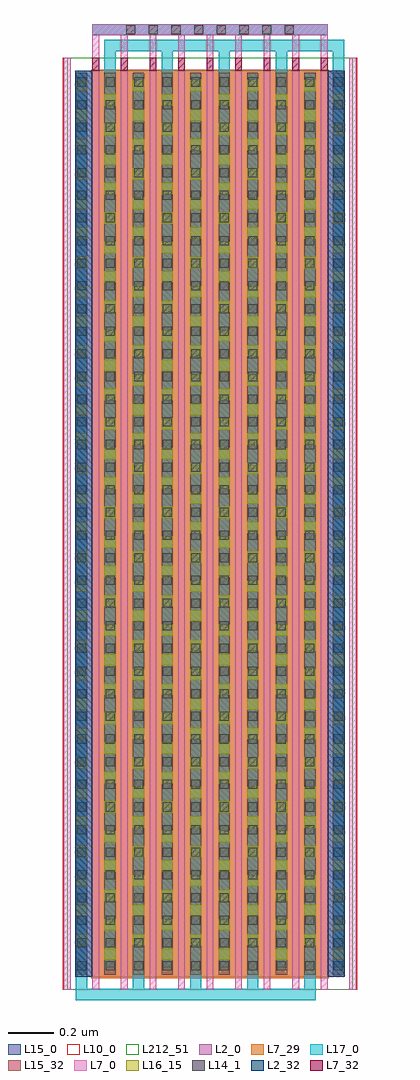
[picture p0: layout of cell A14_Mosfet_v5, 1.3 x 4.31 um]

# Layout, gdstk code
import gdstk
lib = gdstk.Library(unit=1e-6, precision=1e-09)
def R(c, l, rs):  # rectangles x0, y0, x1, y1
    for r in rs: c.add(gdstk.rectangle(r[:2], r[2:], *l))
def A(c, l, x, y, w, h, nx, ny, dx, dy):  # array of equal rectangles
    R(c, l, [(x+i*dx, y+j*dy, x+i*dx+w, y+j*dy+h) for i in range(nx) for j in range(ny)])
L2_0 = (2, 0)
L2_32 = (2, 32)
L7_0 = (7, 0)
L7_29 = (7, 29)
L7_32 = (7, 32)
L10_0 = (10, 0)
L14_1 = (14, 1)
L15_0 = (15, 0)
L15_32 = (15, 32)
L16_15 = (16, 15)
L17_0 = (17, 0)
L212_51 = (212, 51)

a14_mosfet_v5_srf_source = lib.new_cell('A14_Mosfet_v5:SRF_Source_ViaM1M2:SRF_ViaM1M2')
R(a14_mosfet_v5_srf_source, L15_0, [(0,-3.802,0.05,0.082)])
A(a14_mosfet_v5_srf_source, L16_15, 0, -3.77, 0.05, 0.05, 1, 30, 0, 0.13)
R(a14_mosfet_v5_srf_source, L17_0, [(0,-3.802,0.05,0.082)])

c_a14_mosfet_v5_srf_source = lib.new_cell('A14_Mosfet_v5:SRF_Source_ViaM1M2')
c_a14_mosfet_v5_srf_source.add(gdstk.Reference(a14_mosfet_v5_srf_source, (-0.025,1.86)))

a14_mosfet_v5_srf_drain_ = lib.new_cell('A14_Mosfet_v5:SRF_Drain_ViaM1M2:SRF_ViaM1M2')
R(a14_mosfet_v5_srf_drain_, L15_0, [(0,-3.802,0.05,0.082)])
A(a14_mosfet_v5_srf_drain_, L16_15, 0, -3.77, 0.05, 0.05, 1, 30, 0, 0.13)
R(a14_mosfet_v5_srf_drain_, L17_0, [(0,-3.802,0.05,0.082)])

c_a14_mosfet_v5_srf_drain_ = lib.new_cell('A14_Mosfet_v5:SRF_Drain_ViaM1M2')
c_a14_mosfet_v5_srf_drain_.add(gdstk.Reference(a14_mosfet_v5_srf_drain_, (-0.025,1.86)))

a14_mosfet_v5_srf_gate_v = lib.new_cell('A14_Mosfet_v5:SRF_Gate_ViaM0Mx:SRF_ViaM0M1')
R(a14_mosfet_v5_srf_gate_v, L7_0, [(-0.01,-0.004,0.75,0.044)])
A(a14_mosfet_v5_srf_gate_v, L14_1, 0, 0, 0.04, 0.04, 8, 1, 0.1, 0)
R(a14_mosfet_v5_srf_gate_v, L15_0, [(-0.021,-0.005,0.761,0.045)])

c_a14_mosfet_v5_srf_gate_v = lib.new_cell('A14_Mosfet_v5:SRF_Gate_ViaM0Mx')
c_a14_mosfet_v5_srf_gate_v.add(gdstk.Reference(a14_mosfet_v5_srf_gate_v, (-0.37,-0.02)))

a14_mosfet_v5 = lib.new_cell('A14_Mosfet_v5')
R(a14_mosfet_v5, L2_0, [(-0.076,0.057,1.114,4.057)])
R(a14_mosfet_v5, L2_32, [(-0.076,0.057,0,4.057), (1.038,0.057,1.114,4.057)])
A(a14_mosfet_v5, L7_0, -0.126, 0, 0.03, 4.114, 11, 1, 0.126, 0)
A(a14_mosfet_v5, L7_0, 0, 4.114, 0.03, 0.1, 9, 1, 0.126, 0)
R(a14_mosfet_v5, L7_0, [(0,4.214,1.038,4.262)])
R(a14_mosfet_v5, L7_29, [(-0.005,0.052,1.043,4.062)])
A(a14_mosfet_v5, L7_32, 0, 4.057, 0.03, 0.057, 9, 1, 0.126, 0)
R(a14_mosfet_v5, L10_0, [(-0.132,0.001,1.17,4.113)])
A(a14_mosfet_v5, L14_1, -0.068, 0.087, 0.04, 0.04, 10, 40, 0.126, 0.1)
R(a14_mosfet_v5, L15_0, [(-0.073,0.066,-0.023,4.048), (-0.073,0.066,-0.023,4.048), (0.053,0.066,0.103,4.048), (0.053,0.066,0.103,4.048), (0.179,0.066,0.229,4.048), (0.179,0.066,0.229,4.048), (0.305,0.066,0.355,4.048), (0.305,0.066,0.355,4.048), (0.431,0.066,0.481,4.048), (0.431,0.066,0.481,4.048), (0.557,0.066,0.607,4.048), (0.557,0.066,0.607,4.048), (0.683,0.066,0.733,4.048), (0.683,0.066,0.733,4.048), (0.809,0.066,0.859,4.048), (0.809,0.066,0.859,4.048), (0.935,0.066,0.985,4.048), (0.935,0.066,0.985,4.048), (1.061,0.066,1.111,4.048), (1.061,0.066,1.111,4.048), (0,4.213,1.038,4.263)])
A(a14_mosfet_v5, L15_32, -0.073, 0.066, 0.05, 3.982, 10, 1, 0.126, 0)
A(a14_mosfet_v5, L17_0, -0.073, 0.005, 0.05, 4.043, 5, 1, 0.252, 0)
A(a14_mosfet_v5, L17_0, 0.053, 3.984, 0.05, 0.159, 5, 1, 0.252, 0)
R(a14_mosfet_v5, L17_0, [(-0.073,-0.045,0.985,0.005), (0.053,4.143,1.111,4.193)])
R(a14_mosfet_v5, L212_51, [(-0.111,0.001,1.149,4.113)])
a14_mosfet_v5.add(gdstk.Reference(c_a14_mosfet_v5_srf_source, (-0.048,2.106)))
a14_mosfet_v5.add(gdstk.Reference(c_a14_mosfet_v5_srf_source, (0.204,2.106)))
a14_mosfet_v5.add(gdstk.Reference(c_a14_mosfet_v5_srf_source, (0.456,2.106)))
a14_mosfet_v5.add(gdstk.Reference(c_a14_mosfet_v5_srf_source, (0.708,2.106)))
a14_mosfet_v5.add(gdstk.Reference(c_a14_mosfet_v5_srf_source, (0.96,2.106)))
a14_mosfet_v5.add(gdstk.Reference(c_a14_mosfet_v5_srf_drain_, (0.078,2.042)))
a14_mosfet_v5.add(gdstk.Reference(c_a14_mosfet_v5_srf_drain_, (0.33,2.042)))
a14_mosfet_v5.add(gdstk.Reference(c_a14_mosfet_v5_srf_drain_, (0.582,2.042)))
a14_mosfet_v5.add(gdstk.Reference(c_a14_mosfet_v5_srf_drain_, (0.834,2.042)))
a14_mosfet_v5.add(gdstk.Reference(c_a14_mosfet_v5_srf_drain_, (1.086,2.042)))
a14_mosfet_v5.add(gdstk.Reference(c_a14_mosfet_v5_srf_gate_v, (0.519,4.238)))

lib.write_gds('A14_Mosfet_v5.gds')
